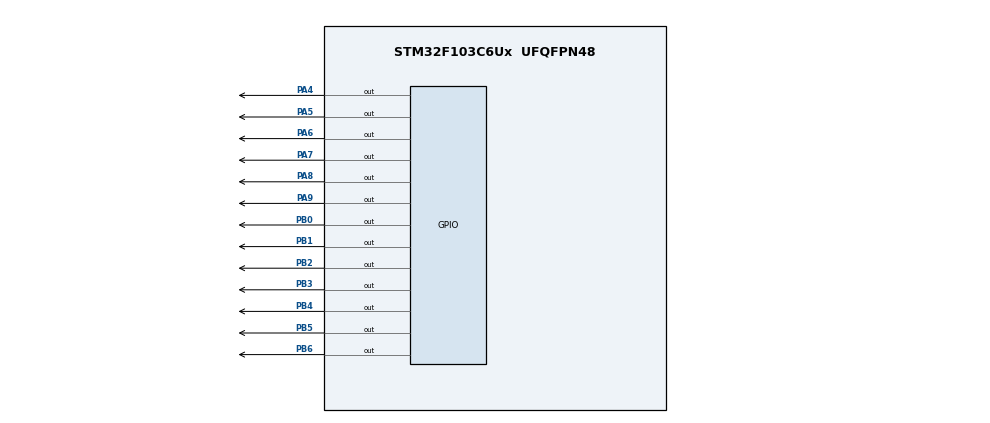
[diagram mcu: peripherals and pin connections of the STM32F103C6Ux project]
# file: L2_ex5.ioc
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Mcu.Family=STM32F1
Mcu.Name=STM32F103C6Ux
Mcu.Package=UFQFPN48
NVIC.PriorityGroup=NVIC_PRIORITYGROUP_4
NVIC.TIM2_IRQn=true\:0\:0\:false\:false\:true\:true\:true
PA4.Signal=GPIO_Output
PA5.Signal=GPIO_Output
PA6.Signal=GPIO_Output
PA7.Signal=GPIO_Output
PA8.Signal=GPIO_Output
PA9.Signal=GPIO_Output
PB0.Signal=GPIO_Output
PB1.Signal=GPIO_Output
PB2.Signal=GPIO_Output
PB3.Signal=GPIO_Output
PB4.Signal=GPIO_Output
PB5.Signal=GPIO_Output
PB6.Signal=GPIO_Output
ProjectManager.HeapSize=0x200
ProjectManager.StackSize=0x400
ProjectManager.TargetToolchain=STM32CubeIDE
RCC.APB1Freq_Value=8000000
RCC.APB2Freq_Value=8000000
TIM2.Period=9
TIM2.Prescaler=7999
VP_SYS_VS_ND.Mode=No_Debug
VP_TIM2_VS_ClockSourceINT.Mode=Internal
board=custom

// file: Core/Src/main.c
/* USER CODE BEGIN Header */
/**
  ******************************************************************************
  * @file           : main.c
  * @brief          : Main program body
  ******************************************************************************
  * @attention
  *
  * <h2><center>&copy; Copyright (c) 2026 STMicroelectronics.
  * All rights reserved.</center></h2>
  *
  * This software component is licensed by ST under BSD 3-Clause license,
  * the "License"; You may not use this file except in compliance with the
  * License. You may obtain a copy of the License at:
  *                        opensource.org/licenses/BSD-3-Clause
  *
  ******************************************************************************
  */
/* USER CODE END Header */
#include "main.h"

TIM_HandleTypeDef htim2;

/* USER CODE BEGIN PV */
const int MAX_LED = 4;
int index_led = 0;
int led_buffer[4] = {0, 0, 0, 0};

int timer_dot_counter = 100;
int timer_seg_counter = 25;

int hour = 15, minute = 8, second = 50;
/* USER CODE END PV */

void SystemClock_Config(void);
static void MX_GPIO_Init(void);
static void MX_TIM2_Init(void);
/* USER CODE BEGIN PFP */
void display7SEG(int num);
void update7SEG(int index);
void updateClockBuffer(void);
/* USER CODE END PFP */

int main(void)
{
  /* Reset of all peripherals, Initializes the Flash interface and the Systick. */
  HAL_Init();

  /* Configure the system clock */
  SystemClock_Config();

  MX_GPIO_Init();
  MX_TIM2_Init();

  /* USER CODE BEGIN 2 */

  HAL_GPIO_WritePin(GPIOA, GPIO_PIN_6 | GPIO_PIN_7 | GPIO_PIN_8 | GPIO_PIN_9, GPIO_PIN_SET);

  HAL_GPIO_WritePin(GPIOA, GPIO_PIN_4, GPIO_PIN_SET);

  HAL_TIM_Base_Start_IT(&htim2);
  /* USER CODE END 2 */

  /* Infinite loop */
  /* USER CODE BEGIN WHILE */
  while (1)
    {

      /* USER CODE BEGIN 3 */

      second++;
      if (second >= 60) {
          second = 0;
          minute++;
      }
      if (minute >= 60) {
          minute = 0;
          hour++;
      }
      if (hour >= 24) {
          hour = 0;
      }

      updateClockBuffer();

      HAL_Delay(1000);
    }
  /* USER CODE END 3 */
}

void SystemClock_Config(void)
{
  RCC_OscInitTypeDef RCC_OscInitStruct = {0};
  RCC_ClkInitTypeDef RCC_ClkInitStruct = {0};

  /** Initializes the RCC Oscillators according to the specified parameters
  * in the RCC_OscInitTypeDef structure.
  */
  RCC_OscInitStruct.OscillatorType = RCC_OSCILLATORTYPE_HSI;
  RCC_OscInitStruct.HSIState = RCC_HSI_ON;
  RCC_OscInitStruct.HSICalibrationValue = RCC_HSICALIBRATION_DEFAULT;
  RCC_OscInitStruct.PLL.PLLState = RCC_PLL_NONE;
  if (HAL_RCC_OscConfig(&RCC_OscInitStruct) != HAL_OK)
  {
    Error_Handler();
  }
  /** Initializes the CPU, AHB and APB buses clocks
  */
  RCC_ClkInitStruct.ClockType = RCC_CLOCKTYPE_HCLK|RCC_CLOCKTYPE_SYSCLK
                              |RCC_CLOCKTYPE_PCLK1|RCC_CLOCKTYPE_PCLK2;
  RCC_ClkInitStruct.SYSCLKSource = RCC_SYSCLKSOURCE_HSI;
  RCC_ClkInitStruct.AHBCLKDivider = RCC_SYSCLK_DIV1;
  RCC_ClkInitStruct.APB1CLKDivider = RCC_HCLK_DIV1;
  RCC_ClkInitStruct.APB2CLKDivider = RCC_HCLK_DIV1;

  if (HAL_RCC_ClockConfig(&RCC_ClkInitStruct, FLASH_LATENCY_0) != HAL_OK)
  {
    Error_Handler();
  }
}

static void MX_TIM2_Init(void)
{

  TIM_ClockConfigTypeDef sClockSourceConfig = {0};
  TIM_MasterConfigTypeDef sMasterConfig = {0};

  htim2.Instance = TIM2;
  htim2.Init.Prescaler = 7999;
  htim2.Init.CounterMode = TIM_COUNTERMODE_UP;
  htim2.Init.Period = 9;
  htim2.Init.ClockDivision = TIM_CLOCKDIVISION_DIV1;
  htim2.Init.AutoReloadPreload = TIM_AUTORELOAD_PRELOAD_DISABLE;
  if (HAL_TIM_Base_Init(&htim2) != HAL_OK)
  {
    Error_Handler();
  }
  sClockSourceConfig.ClockSource = TIM_CLOCKSOURCE_INTERNAL;
  if (HAL_TIM_ConfigClockSource(&htim2, &sClockSourceConfig) != HAL_OK)
  {
    Error_Handler();
  }
  sMasterConfig.MasterOutputTrigger = TIM_TRGO_RESET;
  sMasterConfig.MasterSlaveMode = TIM_MASTERSLAVEMODE_DISABLE;
  if (HAL_TIMEx_MasterConfigSynchronization(&htim2, &sMasterConfig) != HAL_OK)
  {
    Error_Handler();
  }

}

static void MX_GPIO_Init(void)
{
  GPIO_InitTypeDef GPIO_InitStruct = {0};

  /* GPIO Ports Clock Enable */
  __HAL_RCC_GPIOA_CLK_ENABLE();
  __HAL_RCC_GPIOB_CLK_ENABLE();

  /*Configure GPIO pin Output Level */
  HAL_GPIO_WritePin(GPIOA, GPIO_PIN_4|GPIO_PIN_5|GPIO_PIN_6|GPIO_PIN_7
                          |GPIO_PIN_8|GPIO_PIN_9, GPIO_PIN_RESET);

  /*Configure GPIO pin Output Level */
  HAL_GPIO_WritePin(GPIOB, GPIO_PIN_0|GPIO_PIN_1|GPIO_PIN_2|GPIO_PIN_3
                          |GPIO_PIN_4|GPIO_PIN_5|GPIO_PIN_6, GPIO_PIN_RESET);

  /*Configure GPIO pins : PA4 PA5 PA6 PA7
                           PA8 PA9 */
  GPIO_InitStruct.Pin = GPIO_PIN_4|GPIO_PIN_5|GPIO_PIN_6|GPIO_PIN_7
                          |GPIO_PIN_8|GPIO_PIN_9;
  GPIO_InitStruct.Mode = GPIO_MODE_OUTPUT_PP;
  GPIO_InitStruct.Pull = GPIO_NOPULL;
  GPIO_InitStruct.Speed = GPIO_SPEED_FREQ_LOW;
  HAL_GPIO_Init(GPIOA, &GPIO_InitStruct);

  /*Configure GPIO pins : PB0 PB1 PB2 PB3
                           PB4 PB5 PB6 */
  GPIO_InitStruct.Pin = GPIO_PIN_0|GPIO_PIN_1|GPIO_PIN_2|GPIO_PIN_3
                          |GPIO_PIN_4|GPIO_PIN_5|GPIO_PIN_6;
  GPIO_InitStruct.Mode = GPIO_MODE_OUTPUT_PP;
  GPIO_InitStruct.Pull = GPIO_NOPULL;
  GPIO_InitStruct.Speed = GPIO_SPEED_FREQ_LOW;
  HAL_GPIO_Init(GPIOB, &GPIO_InitStruct);

}

/* USER CODE BEGIN 4 */
void updateClockBuffer(void) {
    led_buffer[0] = hour / 10;
    led_buffer[1] = hour % 10;
    led_buffer[2] = minute / 10;
    led_buffer[3] = minute % 10;
}

void display7SEG(int num) {
    switch (num) {
        case 0:
            HAL_GPIO_WritePin(GPIOB, GPIO_PIN_0 | GPIO_PIN_1 | GPIO_PIN_2 |
                                     GPIO_PIN_3 | GPIO_PIN_4 | GPIO_PIN_5, GPIO_PIN_RESET);
            HAL_GPIO_WritePin(GPIOB, GPIO_PIN_6, GPIO_PIN_SET);
            break;
        case 1:
            HAL_GPIO_WritePin(GPIOB, GPIO_PIN_1 | GPIO_PIN_2, GPIO_PIN_RESET);
            HAL_GPIO_WritePin(GPIOB, GPIO_PIN_0 | GPIO_PIN_3 | GPIO_PIN_4 |
                                     GPIO_PIN_5 | GPIO_PIN_6, GPIO_PIN_SET);
            break;
        case 2:
            HAL_GPIO_WritePin(GPIOB, GPIO_PIN_0 | GPIO_PIN_1 | GPIO_PIN_3 |
                                     GPIO_PIN_4 | GPIO_PIN_6, GPIO_PIN_RESET);
            HAL_GPIO_WritePin(GPIOB, GPIO_PIN_2 | GPIO_PIN_5, GPIO_PIN_SET);
            break;
        case 3:
            HAL_GPIO_WritePin(GPIOB, GPIO_PIN_0 | GPIO_PIN_1 | GPIO_PIN_2 |
                                     GPIO_PIN_3 | GPIO_PIN_6, GPIO_PIN_RESET);
            HAL_GPIO_WritePin(GPIOB, GPIO_PIN_4 | GPIO_PIN_5, GPIO_PIN_SET);
            break;
        case 4:
            HAL_GPIO_WritePin(GPIOB, GPIO_PIN_1 | GPIO_PIN_2 | GPIO_PIN_5 |
                                     GPIO_PIN_6, GPIO_PIN_RESET);
            HAL_GPIO_WritePin(GPIOB, GPIO_PIN_0 | GPIO_PIN_3 | GPIO_PIN_4, GPIO_PIN_SET);
            break;
        case 5:
            HAL_GPIO_WritePin(GPIOB, GPIO_PIN_0 | GPIO_PIN_2 | GPIO_PIN_3 |
                                     GPIO_PIN_5 | GPIO_PIN_6, GPIO_PIN_RESET);
            HAL_GPIO_WritePin(GPIOB, GPIO_PIN_1 | GPIO_PIN_4, GPIO_PIN_SET);
            break;
        case 6:
            HAL_GPIO_WritePin(GPIOB, GPIO_PIN_0 | GPIO_PIN_2 | GPIO_PIN_3 |
                                     GPIO_PIN_4 | GPIO_PIN_5 | GPIO_PIN_6, GPIO_PIN_RESET);
            HAL_GPIO_WritePin(GPIOB, GPIO_PIN_1, GPIO_PIN_SET);
            break;
        case 7:
            HAL_GPIO_WritePin(GPIOB, GPIO_PIN_0 | GPIO_PIN_1 | GPIO_PIN_2, GPIO_PIN_RESET);
            HAL_GPIO_WritePin(GPIOB, GPIO_PIN_3 | GPIO_PIN_4 | GPIO_PIN_5 |
                                     GPIO_PIN_6, GPIO_PIN_SET);
            break;
        case 8:
            HAL_GPIO_WritePin(GPIOB, GPIO_PIN_0 | GPIO_PIN_1 | GPIO_PIN_2 |
                                     GPIO_PIN_3 | GPIO_PIN_4 | GPIO_PIN_5 |
                                     GPIO_PIN_6, GPIO_PIN_RESET);
            break;
        case 9:
            HAL_GPIO_WritePin(GPIOB, GPIO_PIN_0 | GPIO_PIN_1 | GPIO_PIN_2 |
                                     GPIO_PIN_3 | GPIO_PIN_5 | GPIO_PIN_6, GPIO_PIN_RESET);
            HAL_GPIO_WritePin(GPIOB, GPIO_PIN_4, GPIO_PIN_SET);
            break;
        default:
            HAL_GPIO_WritePin(GPIOB, GPIO_PIN_0 | GPIO_PIN_1 | GPIO_PIN_2 |
                                     GPIO_PIN_3 | GPIO_PIN_4 | GPIO_PIN_5 |
                                     GPIO_PIN_6, GPIO_PIN_SET);
            break;
    }
}

void update7SEG(int index) {
    switch (index) {
        case 0:

            HAL_GPIO_WritePin(GPIOA, GPIO_PIN_6, GPIO_PIN_RESET);
            HAL_GPIO_WritePin(GPIOA, GPIO_PIN_7, GPIO_PIN_SET);
            HAL_GPIO_WritePin(GPIOA, GPIO_PIN_8, GPIO_PIN_SET);
            HAL_GPIO_WritePin(GPIOA, GPIO_PIN_9, GPIO_PIN_SET);
            display7SEG(led_buffer[0]);
            break;

        case 1:

            HAL_GPIO_WritePin(GPIOA, GPIO_PIN_6, GPIO_PIN_SET);
            HAL_GPIO_WritePin(GPIOA, GPIO_PIN_7, GPIO_PIN_RESET);
            HAL_GPIO_WritePin(GPIOA, GPIO_PIN_8, GPIO_PIN_SET);
            HAL_GPIO_WritePin(GPIOA, GPIO_PIN_9, GPIO_PIN_SET);
            display7SEG(led_buffer[1]);
            break;

        case 2:

            HAL_GPIO_WritePin(GPIOA, GPIO_PIN_6, GPIO_PIN_SET);
            HAL_GPIO_WritePin(GPIOA, GPIO_PIN_7, GPIO_PIN_SET);
            HAL_GPIO_WritePin(GPIOA, GPIO_PIN_8, GPIO_PIN_RESET);
            HAL_GPIO_WritePin(GPIOA, GPIO_PIN_9, GPIO_PIN_SET);
            display7SEG(led_buffer[2]);
            break;

        case 3:

            HAL_GPIO_WritePin(GPIOA, GPIO_PIN_6, GPIO_PIN_SET);
            HAL_GPIO_WritePin(GPIOA, GPIO_PIN_7, GPIO_PIN_SET);
            HAL_GPIO_WritePin(GPIOA, GPIO_PIN_8, GPIO_PIN_SET);
            HAL_GPIO_WritePin(GPIOA, GPIO_PIN_9, GPIO_PIN_RESET);
            display7SEG(led_buffer[3]);
            break;

        default:
            break;
    }
}

void HAL_TIM_PeriodElapsedCallback(TIM_HandleTypeDef *htim) {
    if (htim->Instance == TIM2) {

        timer_dot_counter--;
        if (timer_dot_counter <= 0) {
            timer_dot_counter = 100;
            HAL_GPIO_TogglePin(GPIOA, GPIO_PIN_4);
        }

        timer_seg_counter--;
        if (timer_seg_counter <= 0) {
            timer_seg_counter = 25;
            update7SEG(index_led++);
            if (index_led >= MAX_LED) {
                index_led = 0;
            }
        }
    }
}
/* USER CODE END 4 */

void Error_Handler(void)
{
  __disable_irq();
  while (1)
  {
  }
}

/************************ (C) COPYRIGHT STMicroelectronics *****END OF FILE****/
